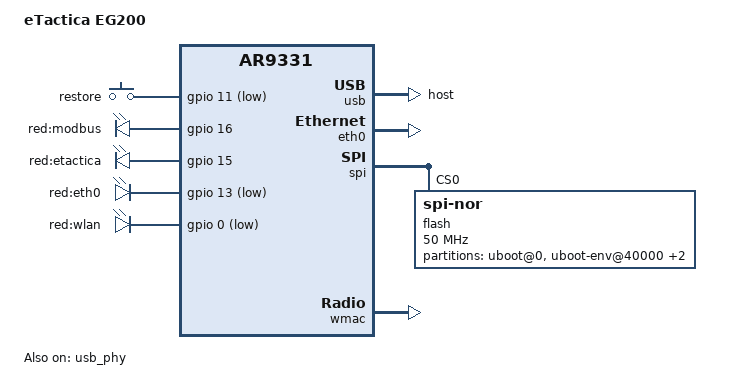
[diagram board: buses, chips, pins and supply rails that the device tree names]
// SPDX-License-Identifier: GPL-2.0-or-later OR MIT

#include "ar9331.dtsi"

#include <dt-bindings/gpio/gpio.h>
#include <dt-bindings/input/input.h>

/ {
	model = "eTactica EG200";
	compatible = "etactica,eg200", "qca,ar9331";

	aliases {
		led-boot = &led_etactica;
		led-failsafe = &led_etactica;
		led-upgrade = &led_etactica;
	};

	keys {
		compatible = "gpio-keys";

		restore {
			linux,code = <KEY_RESTART>;
			gpios = <&gpio 11 GPIO_ACTIVE_LOW>;
		};
	};

	leds {
		compatible = "gpio-leds";
		pinctrl-names = "default";
		pinctrl-0 = <&switch_led_disable_pins>;

		modbus {
			label = "red:modbus";
			gpios = <&gpio 16 GPIO_ACTIVE_HIGH>;
		};

		led_etactica: etactica {
			label = "red:etactica";
			gpios = <&gpio 15 GPIO_ACTIVE_HIGH>;
		};

		eth0 {
			label = "red:eth0";
			gpios = <&gpio 13 GPIO_ACTIVE_LOW>;
		};

		wlan {
			label = "red:wlan";
			gpios = <&gpio 0 GPIO_ACTIVE_LOW>;
			linux,default-trigger = "phy0tpt";
		};
	};
};

&usb {
	dr_mode = "host";
	status = "okay";
};

&usb_phy {
	status = "okay";
};

&eth0 {
	status = "okay";
	nvmem-cells = <&macaddr_art_0>;
	nvmem-cell-names = "mac-address";

	gmac-config {
		device = <&gmac>;
		switch-phy-addr-swap = <1>;
		switch-phy-swap = <1>;
	};
};

&eth1 {
	status = "okay";
	compatible = "syscon", "simple-mfd";
};

&spi {
	status = "okay";

	flash@0 {
		compatible = "jedec,spi-nor";
		spi-max-frequency = <50000000>;
		reg = <0>;

		partitions {
			compatible = "fixed-partitions";
			#address-cells = <1>;
			#size-cells = <1>;

			uboot@0 {
				reg = <0x0 0x40000>;
				read-only;
			};

			uboot-env@40000 {
				reg = <0x40000 0x10000>;
				read-only;
			};

			firmware@50000 {
				compatible = "denx,uimage";
				reg = <0x50000 0xfa0000>;
			};

			art: art@ff0000 {
				reg = <0xff0000 0x10000>;
				read-only;
			};
		};
	};
};

&wmac {
	status = "okay";
	mtd-cal-data = <&art 0x1000>;
};

&art {
	compatible = "nvmem-cells";
	#address-cells = <1>;
	#size-cells = <1>;

	macaddr_art_0: macaddr@0 {
		reg = <0x0 0x6>;
	};
};
